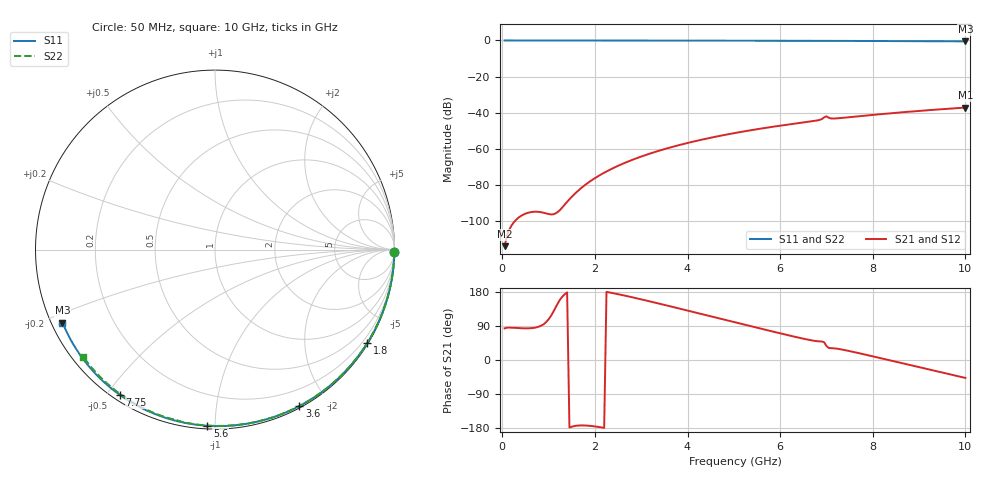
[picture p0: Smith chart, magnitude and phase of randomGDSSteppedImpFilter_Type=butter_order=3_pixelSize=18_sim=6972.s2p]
! freq	dB(S11)	phase(S11)	dB(S12)	phase(S12)
!  dB(S21)	phase(S21)	dB(S22)	phase(S22)
!S-par simulation data
#  GHz  S  DB  R 50
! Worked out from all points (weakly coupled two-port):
!   200 points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, 50 MHz to 10 GHz, reference 50 ohm
!   highest |S21| = -37.25 dB at 10 GHz (marker M1); lowest = -114.1 dB at 50 MHz (marker M2)
!   lowest |S11| = -0.5 dB at 10 GHz (marker M3), VSWR 33.45, Z = 1.57 - j11.3 ohm
!   |S11| at or under -10 dB: nowhere
!   |S22| runs from -0.5 to 0.0 dB; largest |S21 - S12| = 0
!   S11 on the Smith chart (normalised r, x): 50 MHz: open; 1.8 GHz: 0.03, -3.53; 3.6 GHz: 0.02, -1.68; 5.6 GHz: 0.02, -0.96; 7.75 GHz: 0.02, -0.54; 10 GHz: 0.03, -0.23
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0.05  -0.01 -0.9  -114.10 83.5  -114.10 83.5  -0.01 -0.8
0.85  -0.02 -15.1  -95.32 91.3  -95.32 91.3  -0.02 -13.7
1.75  -0.04 -30.8  -80.91 -172.6  -80.91 -172.6  -0.04 -28.0
1.8  -0.04 -31.7  -79.91 -172.8  -79.91 -172.8  -0.04 -28.8
2.1  -0.05 -36.8  -74.81 -177.1  -74.81 -177.1  -0.04 -33.5
2.5  -0.06 -43.6  -69.53 173.7  -69.53 173.7  -0.05 -39.7
2.9  -0.07 -50.2  -65.32 162.9  -65.32 162.9  -0.06 -45.8
3.4  -0.08 -58.4  -61.04 148.4  -61.04 148.4  -0.07 -53.3
3.6  -0.08 -61.7  -59.55 142.5  -59.55 142.5  -0.08 -56.3
4.3  -0.10 -72.7  -55.07 121.4  -55.07 121.4  -0.09 -66.5
5.05  -0.13 -84.3  -51.21 98.7  -51.21 98.7  -0.12 -77.1
5.6  -0.15 -92.5  -48.83 82.2  -48.83 82.2  -0.14 -84.7
6.7  -0.21 -108.4  -44.81 51.3  -44.81 51.3  -0.19 -99.3
6.85  -0.22 -110.5  -44.08 49.0  -44.08 49.0  -0.20 -101.4
6.9  -0.23 -111.2  -43.62 48.8  -43.62 48.8  -0.21 -102.1
7  -0.23 -112.6  -42.08 36.9  -42.08 36.9  -0.26 -103.2
7.05  -0.23 -113.3  -42.89 31.6  -42.89 31.6  -0.24 -103.7
7.15  -0.24 -114.8  -43.32 31.0  -43.32 31.0  -0.23 -105.0
7.75  -0.29 -123.1  -41.91 16.7  -41.91 16.7  -0.26 -112.7
8.35  -0.34 -131.5  -40.48 -0.3  -40.48 -0.3  -0.31 -120.3
9.2  -0.42 -143.2  -38.69 -24.4  -38.69 -24.4  -0.39 -130.8
10  -0.52 -154.4  -37.25 -47.3  -37.25 -47.3  -0.47 -140.8
